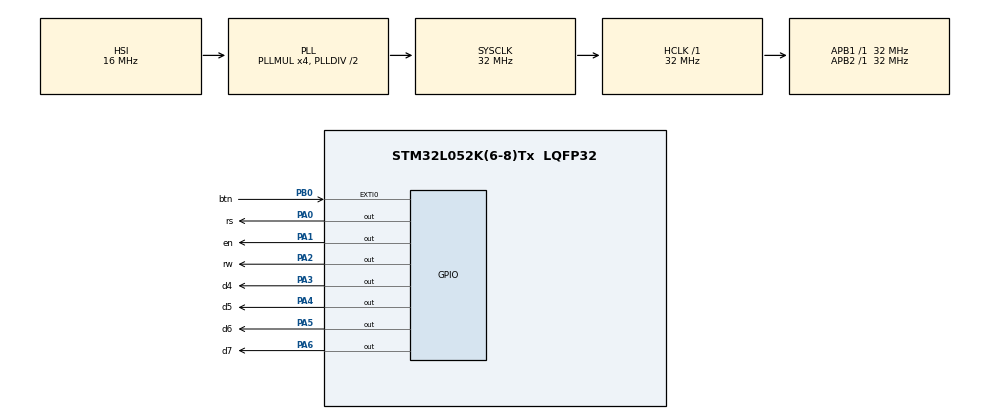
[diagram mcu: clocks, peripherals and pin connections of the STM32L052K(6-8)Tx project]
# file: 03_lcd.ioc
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Mcu.Family=STM32L0
Mcu.Name=STM32L052K(6-8)Tx
Mcu.Package=LQFP32
NVIC.EXTI0_1_IRQn=true\:0\:0\:false\:false\:true\:true\:true
PA0.GPIO_Label=rs
PA0.Signal=GPIO_Output
PA1.GPIO_Label=en
PA1.Signal=GPIO_Output
PA2.GPIO_Label=rw
PA2.Signal=GPIO_Output
PA3.GPIO_Label=d4
PA3.Signal=GPIO_Output
PA4.GPIO_Label=d5
PA4.Signal=GPIO_Output
PA5.GPIO_Label=d6
PA5.Signal=GPIO_Output
PA6.GPIO_Label=d7
PA6.Signal=GPIO_Output
PB0.GPIO_Label=btn
PB0.GPIO_ModeDefaultEXTI=GPIO_MODE_IT_FALLING
PB0.GPIO_PuPd=GPIO_PULLUP
PB0.Signal=GPXTI0
ProjectManager.HeapSize=0x200
ProjectManager.StackSize=0x400
ProjectManager.TargetToolchain=TrueSTUDIO
RCC.AHBFreq_Value=32000000
RCC.APB1Freq_Value=32000000
RCC.APB1TimFreq_Value=32000000
RCC.APB2Freq_Value=32000000
RCC.APB2TimFreq_Value=32000000
RCC.HCLKFreq_Value=32000000
RCC.HSI16_VALUE=16000000
RCC.HSI48_VALUE=48000000
RCC.HSI_VALUE=16000000
RCC.LSE_VALUE=32768
RCC.MSI_VALUE=2097000
RCC.PLLMUL=RCC_PLLMUL_4
RCC.SYSCLKFreq_VALUE=32000000
RCC.SYSCLKSource=RCC_SYSCLKSOURCE_PLLCLK
RCC.VCOOutputFreq_Value=64000000
board=custom

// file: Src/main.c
/* USER CODE BEGIN Header */
/**
 ******************************************************************************
 * @file           : main.c
 * @brief          : Main program body
 ******************************************************************************
 * @attention
 *
 * <h2><center>&copy; Copyright (c) 2020 STMicroelectronics.
 * All rights reserved.</center></h2>
 *
 * This software component is licensed by ST under BSD 3-Clause license,
 * the "License"; You may not use this file except in compliance with the
 * License. You may obtain a copy of the License at:
 *                        opensource.org/licenses/BSD-3-Clause
 *
 ******************************************************************************
 */
/* USER CODE END Header */

#include "main.h"

/* USER CODE BEGIN Includes */
#include <stdio.h> // for sprintf
#include <stdint.h> // for uint8_t, uint16_t,..
#include <stdbool.h> // for bool
#include "lcd.h"
#include "obser.h"
/* USER CODE END Includes */

void SystemClock_Config(void);
static void MX_GPIO_Init(void);

/* USER CODE BEGIN 0 */
volatile bool flag;
//volatile uint8_t flag;
void HAL_GPIO_EXTI_Callback(uint16_t GPIO_Pin) {
	if (GPIO_Pin == btn_Pin)
		flag ^= 1;
}

#define CLEAR_LCD_ONCE if (!theFlag) { theFlag = 1; LCD_Clear();}

/* USER CODE END 0 */

int main(void) {
	/* USER CODE BEGIN 1 */
	char theString[16];
	int i = 0;
	uint8_t theFlag = 0;
	uint32_t lastTime = 0;
//	Button *pButton = malloc(sizeof *pButton);
	Button button;

	/* USER CODE END 1 */

	/* MCU Configuration--------------------------------------------------------*/

	/* Reset of all peripherals, Initializes the Flash interface and the Systick. */
	HAL_Init();

	/* Configure the system clock */
	SystemClock_Config();

	/* Initialize all configured peripherals */
	MX_GPIO_Init();
	/* USER CODE BEGIN 2 */
	LCD_Init();
	sprintf(theString, "Starting...");
	LCD_Puts(0, 0, theString);

	/* system initialization */
	button_Init(&button);
	button_AddClickListener(&button, observer1_OnClick);
	button_AddClickListener(&button, observer2_OnClick);
	/* USER CODE END 2 */

	/* Infinite loop */
	/* USER CODE BEGIN WHILE */
	while (1) {
		if (flag) {
			CLEAR_LCD_ONCE
			if (HAL_GetTick() - lastTime > 500) {
				lastTime = HAL_GetTick();
//				sprintf(theString, "%d: Hello", i++);
//				LCD_Puts(0, 0, theString);
				button_Click(&button, i++);
			}
			//flag = 0;
		}
		/* USER CODE END WHILE */

	}
}

void SystemClock_Config(void) {
	RCC_OscInitTypeDef RCC_OscInitStruct = { 0 };
	RCC_ClkInitTypeDef RCC_ClkInitStruct = { 0 };

	/** Configure the main internal regulator output voltage
	 */
	__HAL_PWR_VOLTAGESCALING_CONFIG(PWR_REGULATOR_VOLTAGE_SCALE1);
	/** Initializes the CPU, AHB and APB busses clocks
	 */
	RCC_OscInitStruct.OscillatorType = RCC_OSCILLATORTYPE_HSI;
	RCC_OscInitStruct.HSIState = RCC_HSI_ON;
	RCC_OscInitStruct.HSICalibrationValue = RCC_HSICALIBRATION_DEFAULT;
	RCC_OscInitStruct.PLL.PLLState = RCC_PLL_ON;
	RCC_OscInitStruct.PLL.PLLSource = RCC_PLLSOURCE_HSI;
	RCC_OscInitStruct.PLL.PLLMUL = RCC_PLLMUL_4;
	RCC_OscInitStruct.PLL.PLLDIV = RCC_PLLDIV_2;
	if (HAL_RCC_OscConfig(&RCC_OscInitStruct) != HAL_OK) {
		Error_Handler();
	}
	/** Initializes the CPU, AHB and APB busses clocks
	 */
	RCC_ClkInitStruct.ClockType = RCC_CLOCKTYPE_HCLK | RCC_CLOCKTYPE_SYSCLK
			| RCC_CLOCKTYPE_PCLK1 | RCC_CLOCKTYPE_PCLK2;
	RCC_ClkInitStruct.SYSCLKSource = RCC_SYSCLKSOURCE_PLLCLK;
	RCC_ClkInitStruct.AHBCLKDivider = RCC_SYSCLK_DIV1;
	RCC_ClkInitStruct.APB1CLKDivider = RCC_HCLK_DIV1;
	RCC_ClkInitStruct.APB2CLKDivider = RCC_HCLK_DIV1;

	if (HAL_RCC_ClockConfig(&RCC_ClkInitStruct, FLASH_LATENCY_1) != HAL_OK) {
		Error_Handler();
	}
}

static void MX_GPIO_Init(void) {
	GPIO_InitTypeDef GPIO_InitStruct = { 0 };

	/* GPIO Ports Clock Enable */
	__HAL_RCC_GPIOA_CLK_ENABLE()
	;
	__HAL_RCC_GPIOB_CLK_ENABLE()
	;

	/*Configure GPIO pin Output Level */
	HAL_GPIO_WritePin(GPIOA,
	rs_Pin | en_Pin | rw_Pin | d4_Pin | d5_Pin | d6_Pin | d7_Pin,
			GPIO_PIN_RESET);

	/*Configure GPIO pins : rs_Pin en_Pin rw_Pin d4_Pin
	 d5_Pin d6_Pin d7_Pin */
	GPIO_InitStruct.Pin = rs_Pin | en_Pin | rw_Pin | d4_Pin | d5_Pin | d6_Pin
			| d7_Pin;
	GPIO_InitStruct.Mode = GPIO_MODE_OUTPUT_PP;
	GPIO_InitStruct.Pull = GPIO_NOPULL;
	GPIO_InitStruct.Speed = GPIO_SPEED_FREQ_LOW;
	HAL_GPIO_Init(GPIOA, &GPIO_InitStruct);

	/*Configure GPIO pin : btn_Pin */
	GPIO_InitStruct.Pin = btn_Pin;
	GPIO_InitStruct.Mode = GPIO_MODE_IT_FALLING;
	GPIO_InitStruct.Pull = GPIO_PULLUP;
	HAL_GPIO_Init(btn_GPIO_Port, &GPIO_InitStruct);

	/* EXTI interrupt init*/
	HAL_NVIC_SetPriority(EXTI0_1_IRQn, 0, 0);
	HAL_NVIC_EnableIRQ(EXTI0_1_IRQn);

}

void Error_Handler(void) {
}

/************************ (C) COPYRIGHT STMicroelectronics *****END OF FILE****/
